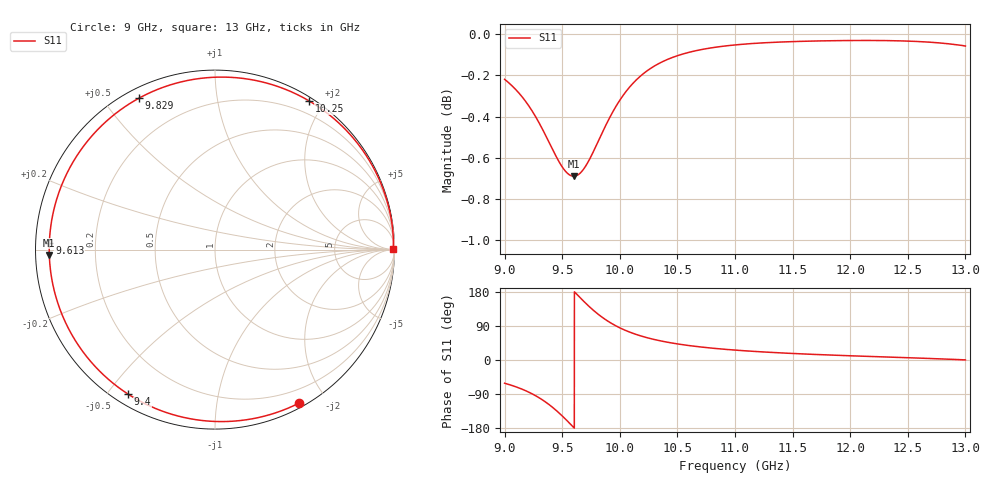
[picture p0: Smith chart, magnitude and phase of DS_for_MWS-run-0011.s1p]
! TOUCHSTONE file generated by CST DESIGN STUDIO
! Date and time: Tue Feb  4 15:41:50 2025
! Project name: C:\Work\MatlabApps\UnitCellOptimizationMatlab\CST\unitcell.cst
! Tree item: Tasks\Sweep1\SPara1\S-Parameters
! Header version: 2024
! Port assignment regex: !\s*Touchstone port\s*([0-9]+)\s*=\s*(CST MWS port|CST DES external port|CST DES block port)\s*(.+)\s* \(\"(.*)\"\)(\s*mode\s*([0-9]+))?.*
! Touchstone port assignment:
! Touchstone port 1 = CST DES external port 1 ("")
# GHz S MA R 50
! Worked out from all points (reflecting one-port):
!   4001 points, 9 GHz to 13 GHz, reference 50 ohm
!   lowest |S11| = -0.7 dB at 9.6 GHz (marker M1), VSWR 25.18, Z = 1.99 - j0.809 ohm
!   phase of S11 starts at -61 deg and turns -298 deg over the sweep
!   S11 on the Smith chart (normalised r, x): 9 GHz: 0.05, -1.69; 9.4 GHz: 0.04, -0.57; 9.613 GHz: 0.04, +0.02; 9.829 GHz: 0.04, +0.61; 10.25 GHz: 0.04, +1.82; 13 GHz: open
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9  0.9751 -61.3
9.054  0.9722 -66.2
9.125  0.9676 -73.8
9.187  0.9627 -81.6
9.248  0.9571 -90.7
9.329  0.9482 -105.4
9.4  0.9396 -121.0
9.45  0.9336 -133.6
9.5  0.9284 -147.5
9.552  0.9248 -163.1
9.6  0.9236 -178.1
9.613  0.9237 177.8
9.668  0.926 160.6
9.729  0.9315 142.6
9.779  0.9375 129.0
9.829  0.944 116.8
9.907  0.9538 100.5
10  0.9637 84.9
10.118  0.9732 70.0
10.251  0.9804 57.7
10.367  0.9846 49.6
10.5  0.9881 42.5
10.72  0.9916 33.8
11  0.994 26.1
11.5  0.9959 17.2
12  0.9965 11.1
12.5  0.9962 6.0
13  0.9934 0.3
